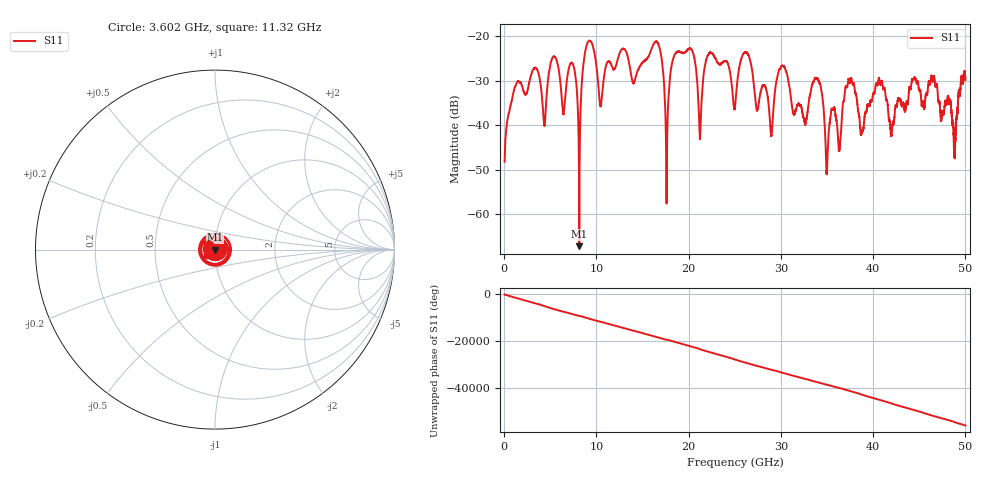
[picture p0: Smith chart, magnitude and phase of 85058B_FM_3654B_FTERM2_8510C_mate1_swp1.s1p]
!Created with skrf (http://scikit-rf.org).
# Hz S RI R 50.0
!freq ReS11 ImS11
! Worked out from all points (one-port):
!   10001 points, 45 MHz to 50 GHz, reference 50 ohm
!   lowest |S11| = -67.2 dB at 8.138 GHz (marker M1), VSWR 1.00, Z = 50 + j0.0136 ohm
!   |S11| at or under -10 dB: start of sweep to end of sweep
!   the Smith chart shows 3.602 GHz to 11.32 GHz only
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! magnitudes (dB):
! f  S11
! 45 MHz  -48.2
! 1.459 GHz  -30.1
! 4.356 GHz  -40.1
! 5.44 GHz  -24.5
! 6.289 GHz  -35.3
! 7.398 GHz  -26.0
! 8.138 GHz  -67.2
! 9.082 GHz  -21.2
! 10.46 GHz  -35.7
! 12.53 GHz  -23.6
! 16.62 GHz  -21.4
! 17.61 GHz  -54.2
! 18.78 GHz  -23.5
! 20.43 GHz  -23.4
! 21.22 GHz  -43.2
! 22.32 GHz  -23.6
! 25.02 GHz  -35.9
! 26.19 GHz  -23.5
! 28.92 GHz  -42.2
! 30.07 GHz  -26.6
! 31.27 GHz  -36.6
! 33.94 GHz  -29.4
! 35 GHz  -50.0
! 37.51 GHz  -30.1
! 38.78 GHz  -41.7
! 43.76 GHz  -35.1
! 48.81 GHz  -45.9
! 50 GHz  -29.8
